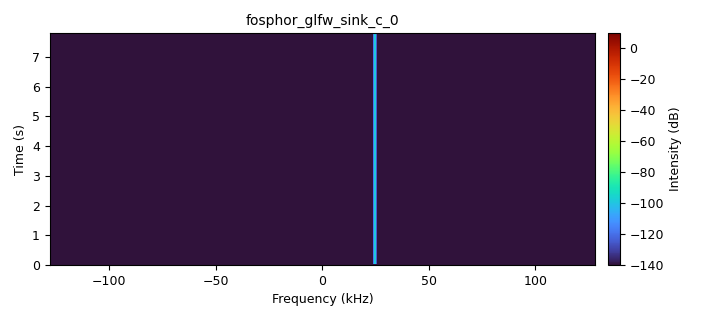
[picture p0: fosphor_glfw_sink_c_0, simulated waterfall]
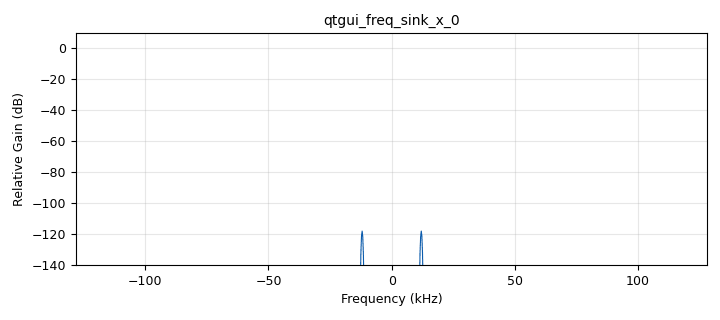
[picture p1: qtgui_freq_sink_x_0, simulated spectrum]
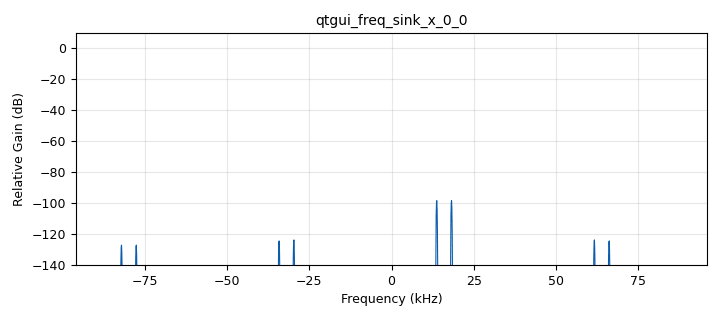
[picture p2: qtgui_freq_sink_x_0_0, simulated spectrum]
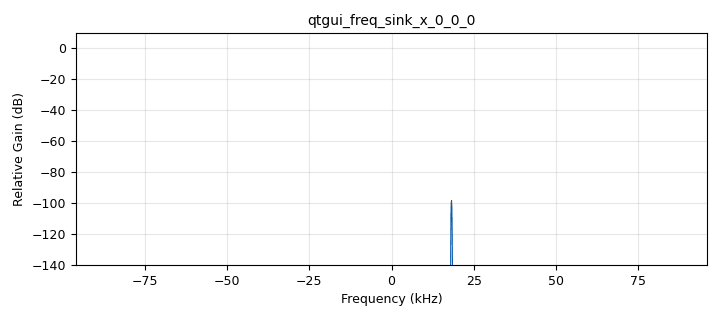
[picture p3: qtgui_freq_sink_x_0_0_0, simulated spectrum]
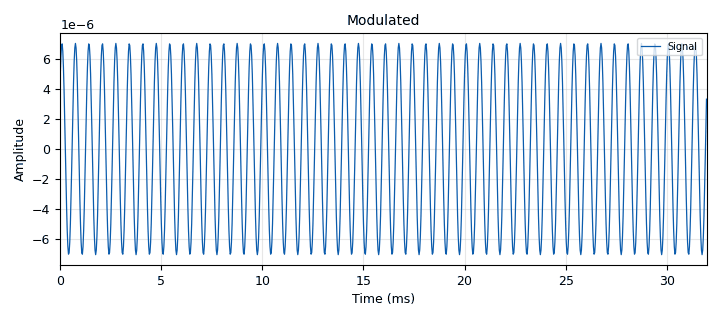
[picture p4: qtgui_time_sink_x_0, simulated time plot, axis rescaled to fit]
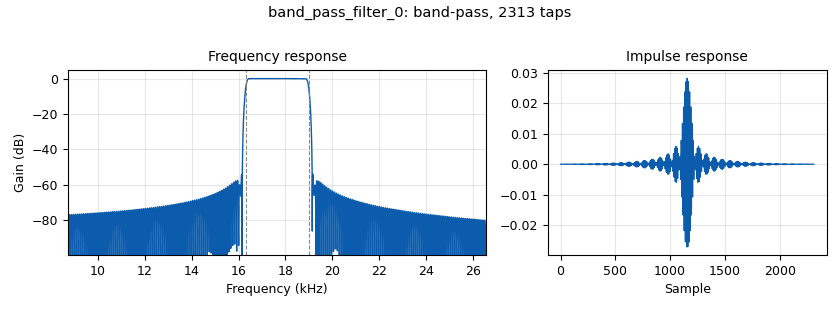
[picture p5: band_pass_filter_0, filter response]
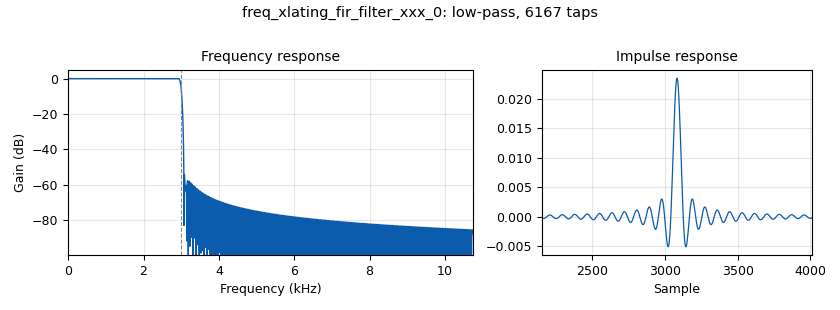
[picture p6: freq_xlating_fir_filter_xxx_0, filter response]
options:
  parameters:
    author: Sara Halter
    generate_options: qt_gui
    id: Simulation
    output_language: python
    realtime_scheduling: '1'
    title: 'SSB Simulation '
  states: {}

blocks:
- name: audio_rate
  id: variable
  parameters:
    value: '32000'
  states: {}
- name: carrier_freq
  id: variable
  parameters:
    value: '16000'
  states: {}
- name: decim
  id: variable
  parameters:
    value: samp_rate/audio_rate
  states: {}
- name: reverse
  id: variable_qtgui_chooser
  parameters:
    label: Sideband
    label0: Upper
    label1: Lower
    num_opts: '2'
    option0: '-1'
    option1: '1'
    type: int
    value: '1'
  states: {}
- name: samp_rate
  id: variable
  parameters:
    value: '256000'
  states: {}
- name: samp_rate_1
  id: variable
  parameters:
    value: '192000'
  states: {}
- name: tuning
  id: variable_qtgui_range
  parameters:
    label: tuning
    orient: Qt.Horizontal
    start: '48000'
    step: '100'
    stop: '58000'
    value: '51500'
  states: {}
- name: analog_const_source_x_0
  id: analog_const_source_x
  parameters:
    const: '0'
    type: float
  states: {}
- name: analog_sig_source_x_0
  id: analog_sig_source_x
  parameters:
    amp: '1'
    freq: '5000'
    offset: '0'
    phase: '0'
    samp_rate: samp_rate
    type: complex
    waveform: analog.GR_TRI_WAVE
  states: {}
- name: analog_sig_source_x_0_0
  id: analog_sig_source_x
  parameters:
    amp: '1'
    freq: '1500'
    offset: '0'
    phase: '0'
    samp_rate: audio_rate
    type: float
    waveform: analog.GR_COS_WAVE
  states: {}
- name: analog_sig_source_x_0_0_0
  id: analog_sig_source_x
  parameters:
    amp: '1'
    freq: '1500'
    offset: '0'
    phase: '0'
    samp_rate: audio_rate
    type: float
    waveform: analog.GR_SIN_WAVE
  states: {}
- name: analog_sig_source_x_1
  id: analog_sig_source_x
  parameters:
    amp: '1'
    freq: '16000'
    offset: '0'
    phase: '0'
    samp_rate: samp_rate_1
    type: complex
    waveform: analog.GR_SIN_WAVE
  states: {}
- name: band_pass_filter_0
  id: band_pass_filter
  parameters:
    decim: '1'
    gain: '1'
    high_cutoff_freq: '19000'
    low_cutoff_freq: '16300'
    samp_rate: samp_rate_1
    type: fir_filter_ccf
    width: '200'
    win: firdes.WIN_HAMMING
  states: {}
- name: blocks_add_xx_0
  id: blocks_add_xx
  parameters:
    type: float
  states: {}
- name: blocks_complex_to_float_0
  id: blocks_complex_to_float
  parameters: {}
  states: {}
- name: blocks_float_to_complex_0
  id: blocks_float_to_complex
  parameters: {}
  states: {}
- name: blocks_multiply_const_vxx_0
  id: blocks_multiply_const_vxx
  parameters:
    const: '100e-6'
    type: complex
  states: {}
- name: blocks_multiply_const_vxx_0_0
  id: blocks_multiply_const_vxx
  parameters:
    const: '100e-3'
    type: float
  states: {}
- name: blocks_multiply_const_vxx_0_0_0
  id: blocks_multiply_const_vxx
  parameters:
    const: '1'
    type: float
  states: {}
- name: blocks_multiply_const_vxx_0_0_1
  id: blocks_multiply_const_vxx
  parameters:
    const: '10'
    type: float
  states: {}
- name: blocks_multiply_xx_0
  id: blocks_multiply_xx
  parameters:
    type: complex
  states: {}
- name: blocks_multiply_xx_0_0
  id: blocks_multiply_xx
  parameters:
    type: float
  states: {}
- name: blocks_multiply_xx_0_0_0
  id: blocks_multiply_xx
  parameters:
    type: float
  states: {}
- name: blocks_repeat_0
  id: blocks_repeat
  parameters:
    interp: '4'
    type: float
  states: {}
- name: blocks_throttle_0
  id: blocks_throttle
  parameters:
    samples_per_second: '48000'
    type: float
  states: {}
- name: fosphor_glfw_sink_c_0
  id: fosphor_glfw_sink_c
  parameters:
    freq_center: '0'
    freq_span: samp_rate
    wintype: firdes.WIN_BLACKMAN_hARRIS
  states: {}
- name: freq_xlating_fir_filter_xxx_0
  id: freq_xlating_fir_filter_xxx
  parameters:
    center_freq: '0'
    decim: '8'
    samp_rate: samp_rate
    taps: firdes.low_pass(1.0,samp_rate,3000,100)
    type: ccc
  states: {}
- name: qtgui_freq_sink_x_0
  id: qtgui_freq_sink_x
  parameters:
    bw: samp_rate
    fc: '0'
    fftsize: '1024'
    type: float
    wintype: firdes.WIN_BLACKMAN_hARRIS
  states: {}
- name: qtgui_freq_sink_x_0_0
  id: qtgui_freq_sink_x
  parameters:
    bw: samp_rate_1
    fc: '0'
    fftsize: '2048'
    type: complex
    wintype: firdes.WIN_BLACKMAN_hARRIS
  states: {}
- name: qtgui_freq_sink_x_0_0_0
  id: qtgui_freq_sink_x
  parameters:
    bw: samp_rate_1
    fc: '0'
    fftsize: '2048'
    type: complex
    wintype: firdes.WIN_BLACKMAN_hARRIS
  states: {}
- name: qtgui_time_sink_x_0
  id: qtgui_time_sink_x
  parameters:
    label1: 'Signal '
    name: '"Modulated"'
    size: '1024'
    srate: audio_rate
    type: float
  states: {}

connections:
- [analog_const_source_x_0, '0', blocks_float_to_complex_0, '0']
- [analog_sig_source_x_0, '0', blocks_multiply_const_vxx_0, '0']
- [analog_sig_source_x_0_0, '0', blocks_multiply_xx_0_0, '0']
- [analog_sig_source_x_0_0_0, '0', blocks_multiply_xx_0_0_0, '1']
- [analog_sig_source_x_1, '0', blocks_multiply_xx_0, '0']
- [band_pass_filter_0, '0', fosphor_glfw_sink_c_0, '0']
- [band_pass_filter_0, '0', qtgui_freq_sink_x_0_0_0, '0']
- [blocks_add_xx_0, '0', blocks_multiply_const_vxx_0_0, '0']
- [blocks_complex_to_float_0, '0', blocks_multiply_xx_0_0, '1']
- [blocks_complex_to_float_0, '1', blocks_multiply_xx_0_0_0, '0']
- [blocks_float_to_complex_0, '0', blocks_multiply_xx_0, '1']
- [blocks_multiply_const_vxx_0, '0', freq_xlating_fir_filter_xxx_0, '0']
- [blocks_multiply_const_vxx_0_0, '0', blocks_throttle_0, '0']
- [blocks_multiply_const_vxx_0_0, '0', qtgui_freq_sink_x_0, '0']
- [blocks_multiply_const_vxx_0_0, '0', qtgui_time_sink_x_0, '0']
- [blocks_multiply_const_vxx_0_0_0, '0', blocks_add_xx_0, '1']
- [blocks_multiply_const_vxx_0_0_1, '0', blocks_repeat_0, '0']
- [blocks_multiply_xx_0, '0', band_pass_filter_0, '0']
- [blocks_multiply_xx_0, '0', qtgui_freq_sink_x_0_0, '0']
- [blocks_multiply_xx_0_0, '0', blocks_add_xx_0, '0']
- [blocks_multiply_xx_0_0_0, '0', blocks_multiply_const_vxx_0_0_0, '0']
- [blocks_repeat_0, '0', blocks_float_to_complex_0, '1']
- [blocks_throttle_0, '0', blocks_multiply_const_vxx_0_0_1, '0']
- [freq_xlating_fir_filter_xxx_0, '0', blocks_complex_to_float_0, '0']

metadata:
  file_format: 1
